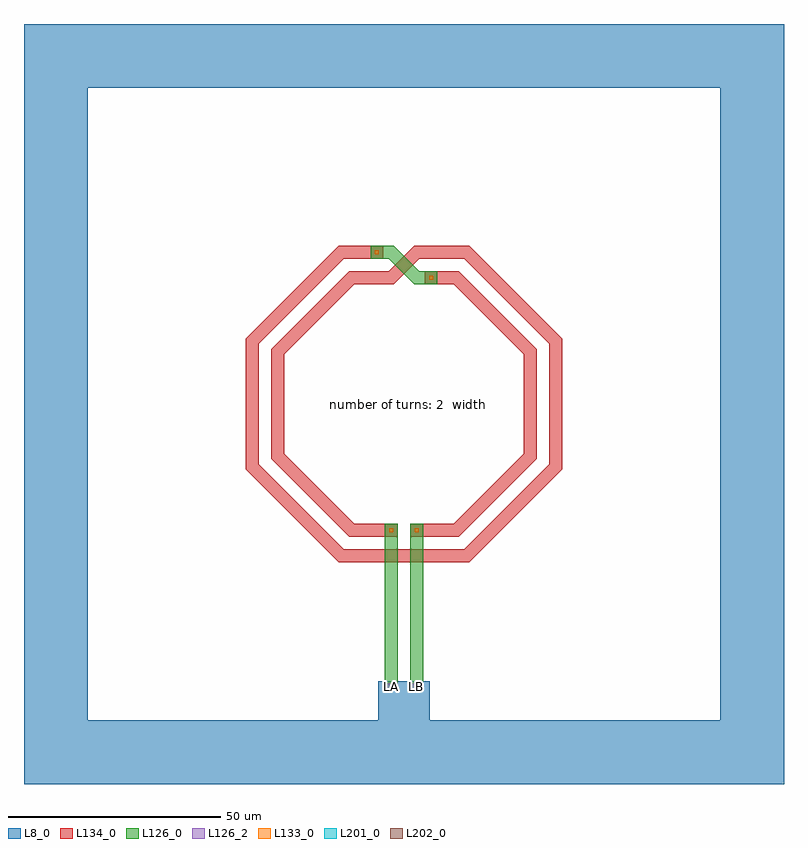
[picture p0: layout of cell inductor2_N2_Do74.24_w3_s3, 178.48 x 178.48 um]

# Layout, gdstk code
import gdstk
lib = gdstk.Library(unit=1e-6, precision=1e-09)
def R(c, l, rs):  # rectangles x0, y0, x1, y1
    for r in rs: c.add(gdstk.rectangle(r[:2], r[2:], *l))
def P(c, l, *ps):  # polygons
    for p in ps: c.add(gdstk.Polygon(p, *l))
L8_0 = (8, 0)
L126_0 = (126, 0)
L126_2 = (126, 2)
L133_0 = (133, 0)
L134_0 = (134, 0)
L201_0 = (201, 0)
L202_0 = (202, 0)

inductor2_n2_do74_24_w3_ = lib.new_cell('inductor2_N2_Do74.24_w3_s3')
R(inductor2_n2_do74_24_w3_, L8_0, [(-89.24,-89.24,-74.24,89.24), (-74.24,-89.24,74.24,-74.24), (74.24,-89.24,89.24,89.24), (-6,-74.24,6,-65.12), (-74.24,74.24,74.24,89.24)])
R(inductor2_n2_do74_24_w3_, L126_0, [(-4.5,-67.12,-1.5,-28.12), (1.5,-67.12,4.5,-28.12)])
P(inductor2_n2_do74_24_w3_, L126_0, [(-7.86,37.12),(-7.86,34.12),(-3.621,34.12),(2.379,28.12),(7.86,28.12),(7.86,31.12),(3.621,31.12),(-2.379,37.12)])
R(inductor2_n2_do74_24_w3_, L126_2, [(-4.5,-67.12,-1.5,-65.62), (1.5,-67.12,4.5,-65.62)])
R(inductor2_n2_do74_24_w3_, L133_0, [(-3.45,-30.07,-2.55,-29.17), (2.55,-30.07,3.45,-29.17), (5.92,29.17,6.82,30.07), (-6.82,35.17,-5.92,36.07)])
R(inductor2_n2_do74_24_w3_, L134_0, [(-7.865,-37.12,7.865,-34.12)])
P(inductor2_n2_do74_24_w3_, L134_0, [(-4.86,-37.12),(-4.86,-34.12),(-14.129,-34.12),(-34.12,-14.129),(-34.12,3),(-37.12,3),(-37.12,-15.371),(-15.371,-37.12)],
  [(-4.86,34.12),(-4.86,37.12),(-15.371,37.12),(-37.12,15.371),(-37.12,-3),(-34.12,-3),(-34.12,14.129),(-14.129,34.12)],
  [(4.86,-34.12),(4.86,-37.12),(15.371,-37.12),(37.12,-15.371),(37.12,3),(34.12,3),(34.12,-14.129),(14.129,-34.12)],
  [(4.86,37.12),(4.86,34.12),(14.129,34.12),(34.12,14.129),(34.12,-3),(37.12,-3),(37.12,15.371),(15.371,37.12)],
  [(-1.5,-31.12),(-1.5,-28.12),(-11.649,-28.12),(-28.12,-11.649),(-28.12,3),(-31.12,3),(-31.12,-12.891),(-12.891,-31.12)],
  [(-4.86,28.12),(-4.86,31.12),(-12.891,31.12),(-31.12,12.891),(-31.12,-3),(-28.12,-3),(-28.12,11.649),(-11.649,28.12)],
  [(1.5,-28.12),(1.5,-31.12),(12.891,-31.12),(31.12,-12.891),(31.12,3),(28.12,3),(28.12,-11.649),(11.649,-28.12)],
  [(4.86,31.12),(4.86,28.12),(11.649,28.12),(28.12,11.649),(28.12,-3),(31.12,-3),(31.12,12.891),(12.891,31.12)],
  [(-7.86,31.12),(-7.86,28.12),(-2.379,28.12),(3.621,34.12),(7.86,34.12),(7.86,37.12),(2.379,37.12),(-3.621,31.12)])
R(inductor2_n2_do74_24_w3_, L201_0, [(-4.5,-67.12,-1.5,-67.02)])
R(inductor2_n2_do74_24_w3_, L202_0, [(1.5,-67.12,4.5,-67.02)])
inductor2_n2_do74_24_w3_.add(gdstk.Label('LA', (-3,-66.37), layer=27, texttype=25))
inductor2_n2_do74_24_w3_.add(gdstk.Label('LB', (3,-66.37), layer=27, texttype=25))
inductor2_n2_do74_24_w3_.add(gdstk.Label('  number of turns: 2\n  width: 3.00\n  spacing: 3.00\n  outer diameter: 74.24\n  inner diameter: 56.24\n', (0,0), layer=63, texttype=0))

lib.write_gds('inductor2_N2_Do74.24_w3_s3.gds')
